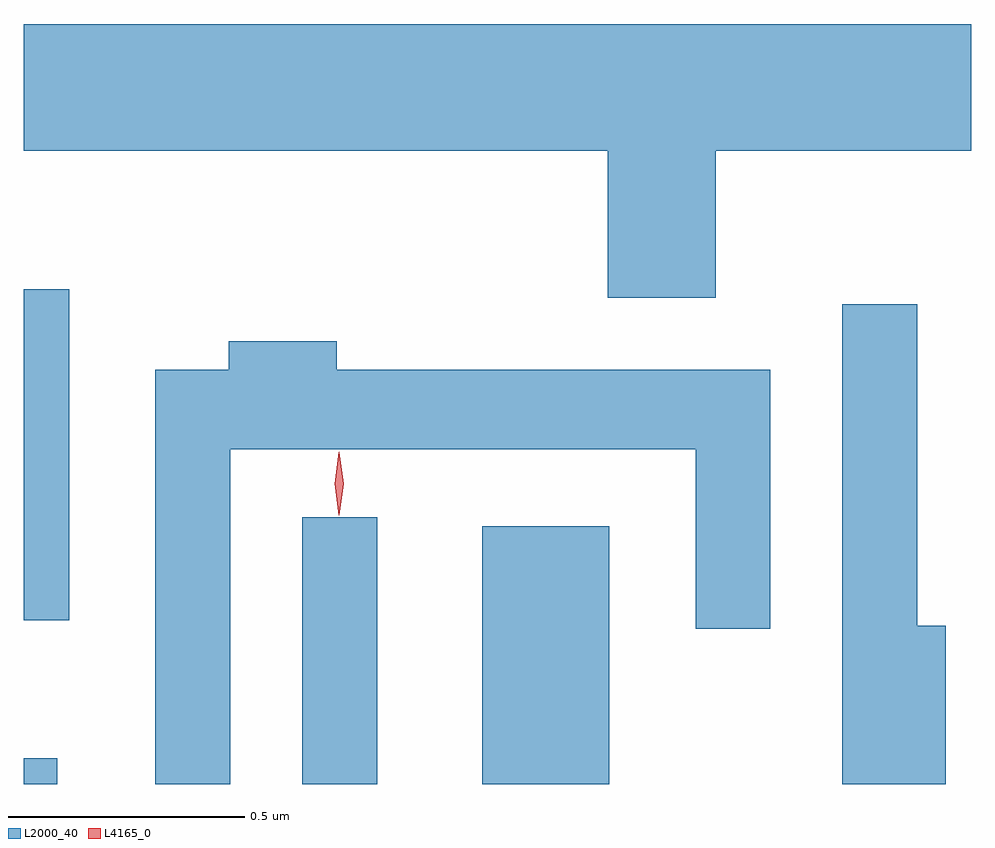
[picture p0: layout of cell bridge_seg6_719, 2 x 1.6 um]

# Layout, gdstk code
import gdstk
lib = gdstk.Library(unit=1e-6, precision=1e-09)
def R(c, l, rs):  # rectangles x0, y0, x1, y1
    for r in rs: c.add(gdstk.rectangle(r[:2], r[2:], *l))
def P(c, l, *ps):  # polygons
    for p in ps: c.add(gdstk.Polygon(p, *l))
L2000_40 = (2000, 40)
L4165_0 = (4165, 0)

bridge_seg6_719 = lib.new_cell('bridge_seg6_719')
R(bridge_seg6_719, L2000_40, [(310.118,1577.56,310.189,1577.614), (310.706,1577.56,310.864,1578.123), (311.086,1577.56,311.354,1578.104), (310.118,1577.906,310.214,1578.604)])
P(bridge_seg6_719, L2000_40, [(311.579,1578.896),(312.118,1578.896),(312.118,1579.164),(310.118,1579.164),(310.118,1578.896),(311.351,1578.896),(311.351,1578.586),(311.579,1578.586)],
  [(312.064,1577.894),(312.004,1577.894),(312.004,1578.573),(311.846,1578.573),(311.846,1577.56),(312.064,1577.56)],
  [(310.554,1578.266),(311.536,1578.266),(311.536,1577.888),(311.694,1577.888),(311.694,1578.434),(310.779,1578.434),(310.779,1578.494),(310.551,1578.494),(310.551,1578.434),(310.396,1578.434),(310.396,1577.56),(310.554,1577.56)])
P(bridge_seg6_719, L4165_0, [(310.783,1578.127),(310.774,1578.194),(310.783,1578.26),(310.784,1578.261),(310.784,1578.26),(310.794,1578.194),(310.784,1578.127),(310.784,1578.127)])

lib.write_gds('bridge_seg6_719.gds')
